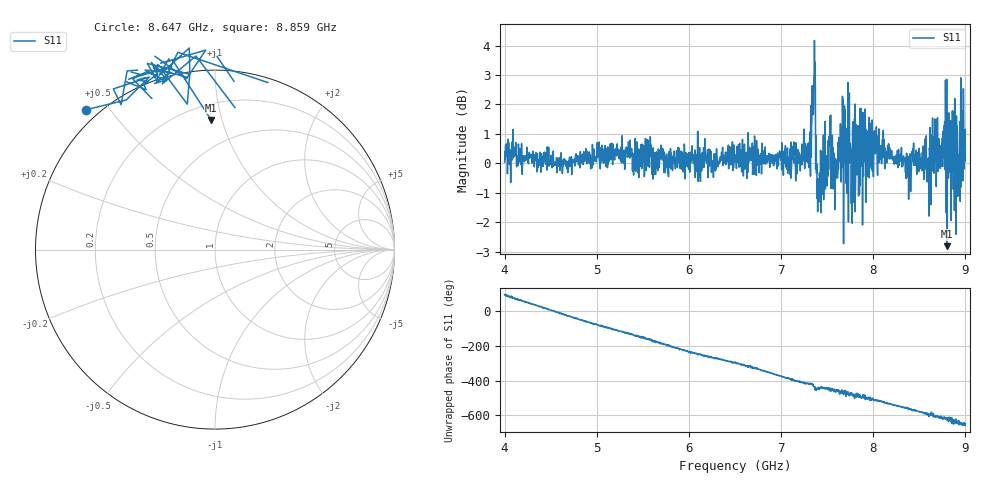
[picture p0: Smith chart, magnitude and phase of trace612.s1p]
! Created with skrf 1.8.0 (http://scikit-rf.org).
# Hz S RI R 50.0
!freq ReS11 ImS11
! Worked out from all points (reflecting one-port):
!   1601 points, 4 GHz to 9 GHz, reference 50 ohm
!   lowest |S11| = -2.8 dB at 8.803 GHz (marker M1), VSWR 6.22, Z = 15.2 + j46.1 ohm
!   phase of S11 starts at 95 deg and turns -744 deg over the sweep
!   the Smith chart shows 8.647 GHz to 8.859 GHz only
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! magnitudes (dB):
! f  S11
! 4 GHz  0.0
! 4.625 GHz  -0.3
! 5.25 GHz  0.2
! 5.875 GHz  -0.1
! 6.5 GHz  0.1
! 7.125 GHz  0.3
! 7.294 GHz  0.6
! 7.328 GHz  0.2
! 7.347 GHz  2.6
! 7.362 GHz  4.2
! 7.4 GHz  -0.5
! 7.409 GHz  -1.3
! 7.538 GHz  1.6
! 7.591 GHz  0.2
! 7.65 GHz  0.2
! 7.75 GHz  0.7
! 7.784 GHz  0.0
! 7.822 GHz  -0.4
! 8.038 GHz  0.4
! 8.375 GHz  -0.2
! 8.556 GHz  -0.3
! 8.603 GHz  0.1
! 8.656 GHz  0.5
! 8.728 GHz  -0.2
! 8.803 GHz  -2.8
! 8.919 GHz  -1.1
! 8.972 GHz  0.5
! 9 GHz  0.1
